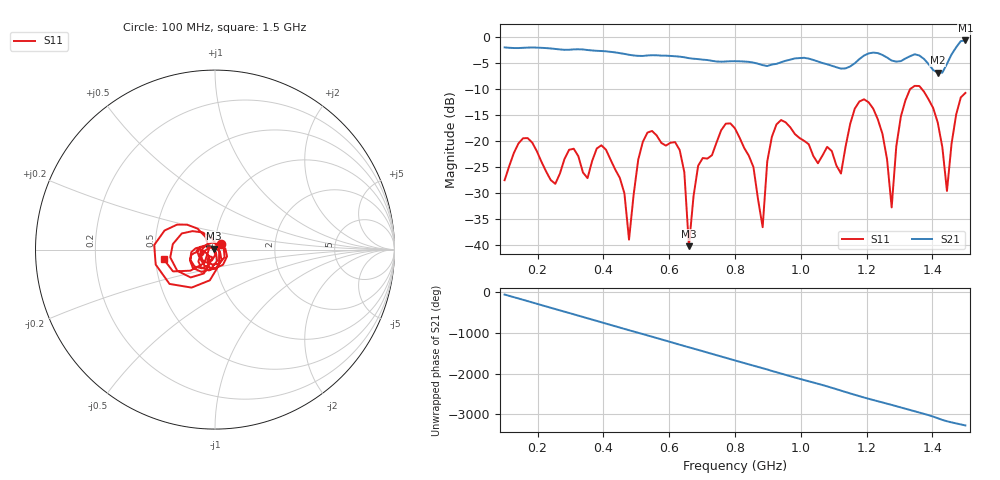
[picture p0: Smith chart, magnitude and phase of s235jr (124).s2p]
! NanoVNA-App
! Date: 2025-09-25 15:05:08
! Start: 100MHz Stop: 1,5GHz Points: 101
! S-Parameter data: F S11 S21 S12 S22
# Hz S RI R 50
!  Frequency  S11_Real  S11_Imag  S21_Real  S21_Imag  S12_Real  S12_Imag  S22_Real  S22_Imag
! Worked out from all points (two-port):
!   101 points, 100 MHz to 1.5 GHz, reference 50 ohm
!   highest |S21| = -0.63 dB at 1.5 GHz (marker M1); lowest = -6.8 dB at 1.416 GHz (marker M2)
!   |S21| within 3 dB of the highest: start of sweep to 609.5 MHz; 1.19 GHz to 1.254 GHz (64.05 MHz wide, 5.24 % of centre) (the widest 2 of 4)
!   lowest |S11| = -40.1 dB at 660 MHz (marker M3), VSWR 1.02, Z = 49.2 + j0.572 ohm
!   |S11| at or under -10 dB: start of sweep to 1.332 GHz; 1.368 GHz to end of sweep
!   S12 and S22 are empty: the file has one direction only
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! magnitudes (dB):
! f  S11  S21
! 100 MHz  -27.5  -2.0
! 156 MHz  -19.4  -2.0
! 338 MHz  -26.0  -2.4
! 408 MHz  -21.6  -2.7
! 478 MHz  -38.9  -3.4
! 520 MHz  -20.1  -3.6
! 576 MHz  -20.3  -3.5
! 632 MHz  -21.7  -3.7
! 660 MHz  -40.1  -4.0
! 688 MHz  -24.7  -4.2
! 800 MHz  -17.5  -4.6
! 884 MHz  -36.5  -5.4
! 926 MHz  -16.8  -5.1
! 1.038 GHz  -22.8  -4.4
! 1.122 GHz  -26.2  -6.0
! 1.206 GHz  -12.5  -3.1
! 1.276 GHz  -32.7  -4.5
! 1.304 GHz  -15.2  -4.6
! 1.332 GHz  -10.0  -3.6
! 1.416 GHz  -16.4  -6.8
! 1.444 GHz  -29.5  -5.1
! 1.5 GHz  -10.7  -0.6
